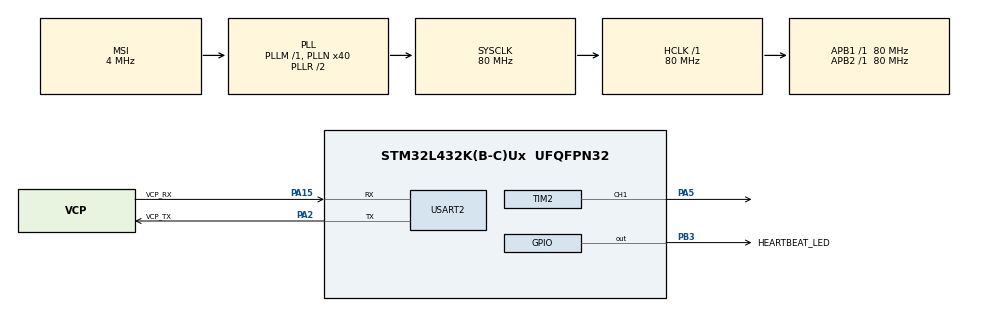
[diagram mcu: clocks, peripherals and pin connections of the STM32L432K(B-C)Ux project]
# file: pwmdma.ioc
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Mcu.Family=STM32L4
Dma.TIM2_CH1.0.MemInc=DMA_MINC_ENABLE
RCC.CortexFreq_Value=80000000
NVIC.DMA1_Channel5_IRQn=true\:0\:0\:false\:false\:true\:false\:true
PA0.GPIO_Label=MCO [High speed clock in]
Dma.TIM2_CH1.0.Instance=DMA1_Channel5
PA15\ (JTDI).Signal=USART2_RX
PC15-OSC32_OUT\ (PC15).Mode=LSE-External-Oscillator
RCC.SYSCLKSource=RCC_SYSCLKSOURCE_PLLCLK
ProjectManager.StackSize=0x400
PB3\ (JTDO-TRACESWO).Signal=GPIO_Output
PC14-OSC32_IN\ (PC14).Mode=LSE-External-Oscillator
PA14\ (JTCK-SWCLK).Signal=SYS_JTCK-SWCLK
PA15\ (JTDI).Mode=Asynchronous
RCC.HCLKFreq_Value=80000000
RCC.APB2TimFreq_Value=80000000
RCC.AHBFreq_Value=80000000
RCC.HSE_VALUE=8000000
USART2.VirtualMode-Asynchronous=VM_ASYNC
RCC.PLLMUL=RCC_PLLMUL_4
PA0.Mode=HSE-External-Clock-Source-for-LittleOrca
TIM2.Channel-PWM\ Generation1\ CH1=TIM_CHANNEL_1
PA0.Signal=RCC_CK_IN
Mcu.Package=UFQFPN32
TIM2.Prescaler=1-1
PA2.GPIO_Label=VCP_TX
Dma.TIM2_CH1.0.PeriphDataAlignment=DMA_PDATAALIGN_WORD
RCC.APB1TimFreq_Value=80000000
TIM16.Prescaler=40000-1
PA13\ (JTMS-SWDIO).Signal=SYS_JTMS-SWDIO
Dma.Request0=TIM2_CH1
Dma.TIM2_CH1.0.Direction=DMA_MEMORY_TO_PERIPH
RCC.HSI48_VALUE=48000000
RCC.MSI_VALUE=4000000
PA14\ (JTCK-SWCLK).Mode=Serial_Wire
SH.S_TIM2_CH1.0=TIM2_CH1,PWM Generation1 CH1
VP_TIM16_VS_ClockSourceINT.Mode=Enable_Timer
PC15-OSC32_OUT\ (PC15).Signal=RCC_OSC32_OUT
PA14\ (JTCK-SWCLK).GPIO_Label=SWCLK
PB3\ (JTDO-TRACESWO).GPIO_Label=HEARTBEAT_LED
RCC.HSI16_VALUE=16000000
ProjectManager.TargetToolchain=STM32CubeIDE
RCC.USBFreq_Value=16000000
PA5.Signal=S_TIM2_CH1
board=NUCLEO-L432KC
RCC.VCOOutputFreq_Value=160000000
TIM16.Period=2000-1
RCC.APB2Freq_Value=80000000
Dma.TIM2_CH1.0.Priority=DMA_PRIORITY_HIGH
PA13\ (JTMS-SWDIO).GPIO_Label=SWDIO
VP_TIM2_VS_ClockSourceINT.Mode=Internal
RCC.ADCFreq_Value=16000000
TIM2.Period=100-1
PA15\ (JTDI).GPIO_Label=VCP_RX
Mcu.Name=STM32L432K(B-C)Ux
PA2.Signal=USART2_TX
PA13\ (JTMS-SWDIO).Mode=Serial_Wire
RCC.SYSCLKFreq_VALUE=80000000
Dma.TIM2_CH1.0.Mode=DMA_NORMAL
PC14-OSC32_IN\ (PC14).Signal=RCC_OSC32_IN
Dma.TIM2_CH1.0.MemDataAlignment=DMA_MDATAALIGN_BYTE
ProjectManager.HeapSize=0x200
RCC.HSI_VALUE=16000000
NVIC.TIM1_UP_TIM16_IRQn=true\:0\:0\:false\:false\:true\:true\:true
NVIC.PriorityGroup=NVIC_PRIORITYGROUP_4
RCC.PLLN=40
PA2.Mode=Asynchronous
TIM2.AutoReloadPreload=TIM_AUTORELOAD_PRELOAD_ENABLE
RCC.APB1Freq_Value=80000000
Dma.TIM2_CH1.0.PeriphInc=DMA_PINC_DISABLE

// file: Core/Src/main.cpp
/* USER CODE BEGIN Header */
/**
  ******************************************************************************
  * @file           : main.c
  * @brief          : Main program body
  ******************************************************************************
  * @attention
  *
  * <h2><center>&copy; Copyright (c) 2021 STMicroelectronics.
  * All rights reserved.</center></h2>
  *
  * This software component is licensed by ST under BSD 3-Clause license,
  * the "License"; You may not use this file except in compliance with the
  * License. You may obtain a copy of the License at:
  *                        opensource.org/licenses/BSD-3-Clause
  *
  ******************************************************************************
  */
/* USER CODE END Header */
#include "main.h"

/* USER CODE BEGIN Includes */

#include "NeopixelStick.hpp"

/* USER CODE END Includes */

TIM_HandleTypeDef htim2;
TIM_HandleTypeDef htim16;
DMA_HandleTypeDef hdma_tim2_ch1;

UART_HandleTypeDef huart2;

void SystemClock_Config(void);
static void MX_GPIO_Init(void);
static void MX_DMA_Init(void);
static void MX_USART2_UART_Init(void);
static void MX_TIM16_Init(void);
static void MX_TIM2_Init(void);

/* USER CODE BEGIN 0 */

#define PIXEL_COUNT 8

unsigned char redframeBuffer[] = {
		0, 1,  0,
		0x00, 3, 0x00,
		0x00, 7, 0x00,
		0x00, 15, 0x00,
		0x00, 31, 0x00,
		0x00, 63, 0x00,
		0x00, 127, 0x00,
		0x00, 255, 0x00
};
unsigned char blueFrameBuffer[] = {
		0, 0, 1,
		0, 0x00, 3,
		0, 0x00, 7,
		0, 0x00, 15,
		0, 0x00, 31,
		0, 0x00, 63,
		0, 0x00, 127,
		0, 0x00, 255
};
unsigned char greenFrameBuffer[] = {
		1, 0, 0,
		3, 0, 0x00,
		7, 0, 0x00,
		15, 0, 0x00,
		31, 0, 0x00,
		63, 0, 0x00,
		127, 0, 0x00,
		255, 0, 0x00
};
unsigned char oddFrameBuffer[] = {
		0, 255, 0,
		0, 0, 255,
		0, 255, 0,
		0, 0, 255,
		0, 255, 0,
		0, 0, 255,
		0, 255, 0,
		0, 0, 255
};
unsigned char evenFrameBuffer[] = {
		0, 0, 255,
		0, 255, 0,
		0, 0, 255,
		0, 255, 0,
		0, 0, 255,
		0, 255, 0,
		0, 0, 255,
		0, 255, 0
};
unsigned char odd2FrameBuffer[] = {
		100, 0, 0,
		100, 100, 0,
		100, 0, 0,
		100, 100, 0,
		100, 0, 0,
		100, 100, 0,
		100, 0, 0,
		100, 100, 0
};
unsigned char even2FrameBuffer[] = {
		100, 100, 0,
		100, 0, 0,
		100, 100, 0,
		100, 0, 0,
		100, 100, 0,
		100, 0, 0,
		100, 100, 0,
		100, 0, 0
};

uint32_t *pwmData;

/* USER CODE END 0 */

int main(void)
{

  /* MCU Configuration--------------------------------------------------------*/

  /* Reset of all peripherals, Initializes the Flash interface and the Systick. */
  HAL_Init();

  /* Configure the system clock */
  SystemClock_Config();

  /* Initialize all configured peripherals */
  MX_GPIO_Init();
  MX_DMA_Init();
  MX_USART2_UART_Init();
  MX_TIM16_Init();
  MX_TIM2_Init();
  /* USER CODE BEGIN 2 */

  HAL_TIM_Base_Start_IT(&htim16);

  NeopixelStick display;
  display.Initialize(&htim2, TIM_CHANNEL_1, PIXEL_COUNT);

  /* USER CODE END 2 */

  /* Infinite loop */
  /* USER CODE BEGIN WHILE */
  uint32_t delayFactor = 250;
  uint32_t minorDelayFactor = 2;

  unsigned char dynamicBuffer[PIXEL_COUNT * 3];
  while (1)
  {

	  for(int i = 0; i < 10; i++)
	  {
		  display.DrawFrame(redframeBuffer);
		  HAL_Delay(delayFactor);
		  display.DrawFrame(blueFrameBuffer);
		  HAL_Delay(delayFactor);
		  display.DrawFrame(greenFrameBuffer);
		  HAL_Delay(delayFactor);
	  }

	  /*
	  for(int i = 0; i < 10; i++)
	  {
		  display.DrawFrame(oddFrameBuffer);
		  HAL_Delay(delayFactor);
		  display.DrawFrame(evenFrameBuffer);
		  HAL_Delay(delayFactor);
	  }

	  for(int i = 0; i < 10; i++)
	  {
		  display.DrawFrame(odd2FrameBuffer);
		  HAL_Delay(delayFactor);
		  display.DrawFrame(even2FrameBuffer);
		  HAL_Delay(delayFactor);
	  }/**/

	  int peakBrightness = 0x80;

	  for(int i = 0; i < 10; i++)
	  {
		  for(int j = 0; j <= peakBrightness; j++)
		  {
			  for(int k = 0; k < PIXEL_COUNT * 3; k++)
			  {
				  dynamicBuffer[k] = j;
			  }
			  display.DrawFrame(dynamicBuffer);
			  HAL_Delay(minorDelayFactor);
		  }
		  for(int j = peakBrightness - 1; j >= 0; j--)
		  {
			  for(int k = 0; k < PIXEL_COUNT * 3; k++)
			  {
				  dynamicBuffer[k] = j;
			  }
			  display.DrawFrame(dynamicBuffer);
			  HAL_Delay(minorDelayFactor);
		  }
	  }/**/

	  /* USER CODE END WHILE */

  }
}

void SystemClock_Config(void)
{
  RCC_OscInitTypeDef RCC_OscInitStruct = {0};
  RCC_ClkInitTypeDef RCC_ClkInitStruct = {0};
  RCC_PeriphCLKInitTypeDef PeriphClkInit = {0};

  /** Configure LSE Drive Capability
  */
  HAL_PWR_EnableBkUpAccess();
  __HAL_RCC_LSEDRIVE_CONFIG(RCC_LSEDRIVE_LOW);
  /** Initializes the RCC Oscillators according to the specified parameters
  * in the RCC_OscInitTypeDef structure.
  */
  RCC_OscInitStruct.OscillatorType = RCC_OSCILLATORTYPE_LSE|RCC_OSCILLATORTYPE_MSI;
  RCC_OscInitStruct.LSEState = RCC_LSE_ON;
  RCC_OscInitStruct.MSIState = RCC_MSI_ON;
  RCC_OscInitStruct.MSICalibrationValue = 0;
  RCC_OscInitStruct.MSIClockRange = RCC_MSIRANGE_6;
  RCC_OscInitStruct.PLL.PLLState = RCC_PLL_ON;
  RCC_OscInitStruct.PLL.PLLSource = RCC_PLLSOURCE_MSI;
  RCC_OscInitStruct.PLL.PLLM = 1;
  RCC_OscInitStruct.PLL.PLLN = 40;
  RCC_OscInitStruct.PLL.PLLP = RCC_PLLP_DIV7;
  RCC_OscInitStruct.PLL.PLLQ = RCC_PLLQ_DIV2;
  RCC_OscInitStruct.PLL.PLLR = RCC_PLLR_DIV2;
  if (HAL_RCC_OscConfig(&RCC_OscInitStruct) != HAL_OK)
  {
    Error_Handler();
  }
  /** Initializes the CPU, AHB and APB buses clocks
  */
  RCC_ClkInitStruct.ClockType = RCC_CLOCKTYPE_HCLK|RCC_CLOCKTYPE_SYSCLK
                              |RCC_CLOCKTYPE_PCLK1|RCC_CLOCKTYPE_PCLK2;
  RCC_ClkInitStruct.SYSCLKSource = RCC_SYSCLKSOURCE_PLLCLK;
  RCC_ClkInitStruct.AHBCLKDivider = RCC_SYSCLK_DIV1;
  RCC_ClkInitStruct.APB1CLKDivider = RCC_HCLK_DIV1;
  RCC_ClkInitStruct.APB2CLKDivider = RCC_HCLK_DIV1;

  if (HAL_RCC_ClockConfig(&RCC_ClkInitStruct, FLASH_LATENCY_4) != HAL_OK)
  {
    Error_Handler();
  }
  PeriphClkInit.PeriphClockSelection = RCC_PERIPHCLK_USART2;
  PeriphClkInit.Usart2ClockSelection = RCC_USART2CLKSOURCE_PCLK1;
  if (HAL_RCCEx_PeriphCLKConfig(&PeriphClkInit) != HAL_OK)
  {
    Error_Handler();
  }
  /** Configure the main internal regulator output voltage
  */
  if (HAL_PWREx_ControlVoltageScaling(PWR_REGULATOR_VOLTAGE_SCALE1) != HAL_OK)
  {
    Error_Handler();
  }
  /** Enable MSI Auto calibration
  */
  HAL_RCCEx_EnableMSIPLLMode();
}

static void MX_TIM2_Init(void)
{

  TIM_ClockConfigTypeDef sClockSourceConfig = {0};
  TIM_MasterConfigTypeDef sMasterConfig = {0};
  TIM_OC_InitTypeDef sConfigOC = {0};

  htim2.Instance = TIM2;
  htim2.Init.Prescaler = 1-1;
  htim2.Init.CounterMode = TIM_COUNTERMODE_UP;
  htim2.Init.Period = 100-1;
  htim2.Init.ClockDivision = TIM_CLOCKDIVISION_DIV1;
  htim2.Init.AutoReloadPreload = TIM_AUTORELOAD_PRELOAD_ENABLE;
  if (HAL_TIM_Base_Init(&htim2) != HAL_OK)
  {
    Error_Handler();
  }
  sClockSourceConfig.ClockSource = TIM_CLOCKSOURCE_INTERNAL;
  if (HAL_TIM_ConfigClockSource(&htim2, &sClockSourceConfig) != HAL_OK)
  {
    Error_Handler();
  }
  if (HAL_TIM_PWM_Init(&htim2) != HAL_OK)
  {
    Error_Handler();
  }
  sMasterConfig.MasterOutputTrigger = TIM_TRGO_RESET;
  sMasterConfig.MasterSlaveMode = TIM_MASTERSLAVEMODE_DISABLE;
  if (HAL_TIMEx_MasterConfigSynchronization(&htim2, &sMasterConfig) != HAL_OK)
  {
    Error_Handler();
  }
  sConfigOC.OCMode = TIM_OCMODE_PWM1;
  sConfigOC.Pulse = 0;
  sConfigOC.OCPolarity = TIM_OCPOLARITY_HIGH;
  sConfigOC.OCFastMode = TIM_OCFAST_DISABLE;
  if (HAL_TIM_PWM_ConfigChannel(&htim2, &sConfigOC, TIM_CHANNEL_1) != HAL_OK)
  {
    Error_Handler();
  }
  HAL_TIM_MspPostInit(&htim2);

}

static void MX_TIM16_Init(void)
{

  htim16.Instance = TIM16;
  htim16.Init.Prescaler = 40000-1;
  htim16.Init.CounterMode = TIM_COUNTERMODE_UP;
  htim16.Init.Period = 2000-1;
  htim16.Init.ClockDivision = TIM_CLOCKDIVISION_DIV1;
  htim16.Init.RepetitionCounter = 0;
  htim16.Init.AutoReloadPreload = TIM_AUTORELOAD_PRELOAD_DISABLE;
  if (HAL_TIM_Base_Init(&htim16) != HAL_OK)
  {
    Error_Handler();
  }

}

static void MX_USART2_UART_Init(void)
{

  huart2.Instance = USART2;
  huart2.Init.BaudRate = 115200;
  huart2.Init.WordLength = UART_WORDLENGTH_8B;
  huart2.Init.StopBits = UART_STOPBITS_1;
  huart2.Init.Parity = UART_PARITY_NONE;
  huart2.Init.Mode = UART_MODE_TX_RX;
  huart2.Init.HwFlowCtl = UART_HWCONTROL_NONE;
  huart2.Init.OverSampling = UART_OVERSAMPLING_16;
  huart2.Init.OneBitSampling = UART_ONE_BIT_SAMPLE_DISABLE;
  huart2.AdvancedInit.AdvFeatureInit = UART_ADVFEATURE_NO_INIT;
  if (HAL_UART_Init(&huart2) != HAL_OK)
  {
    Error_Handler();
  }

}

static void MX_DMA_Init(void)
{

  /* DMA controller clock enable */
  __HAL_RCC_DMA1_CLK_ENABLE();

  /* DMA interrupt init */
  /* DMA1_Channel5_IRQn interrupt configuration */
  HAL_NVIC_SetPriority(DMA1_Channel5_IRQn, 0, 0);
  HAL_NVIC_EnableIRQ(DMA1_Channel5_IRQn);

}

static void MX_GPIO_Init(void)
{
  GPIO_InitTypeDef GPIO_InitStruct = {0};

  /* GPIO Ports Clock Enable */
  __HAL_RCC_GPIOC_CLK_ENABLE();
  __HAL_RCC_GPIOA_CLK_ENABLE();
  __HAL_RCC_GPIOB_CLK_ENABLE();

  /*Configure GPIO pin Output Level */
  HAL_GPIO_WritePin(HEARTBEAT_LED_GPIO_Port, HEARTBEAT_LED_Pin, GPIO_PIN_RESET);

  /*Configure GPIO pin : HEARTBEAT_LED_Pin */
  GPIO_InitStruct.Pin = HEARTBEAT_LED_Pin;
  GPIO_InitStruct.Mode = GPIO_MODE_OUTPUT_PP;
  GPIO_InitStruct.Pull = GPIO_NOPULL;
  GPIO_InitStruct.Speed = GPIO_SPEED_FREQ_LOW;
  HAL_GPIO_Init(HEARTBEAT_LED_GPIO_Port, &GPIO_InitStruct);

}

/* USER CODE BEGIN 4 */

void HAL_TIM_PWM_PulseFinishedCallback(TIM_HandleTypeDef *htim)
{
	//FIXFIXFIX channel 1
	HAL_TIM_PWM_Stop_DMA(htim, TIM_CHANNEL_1);
}

// Timer callback function.
void HAL_TIM_PeriodElapsedCallback(TIM_HandleTypeDef *hTimer)
{
	if(hTimer == &htim16)
	{
		HAL_GPIO_TogglePin(HEARTBEAT_LED_GPIO_Port, HEARTBEAT_LED_Pin);
	}
}

/* USER CODE END 4 */

void Error_Handler(void)
{
  __disable_irq();
  while (1)
  {
  }
}

/************************ (C) COPYRIGHT STMicroelectronics *****END OF FILE****/
